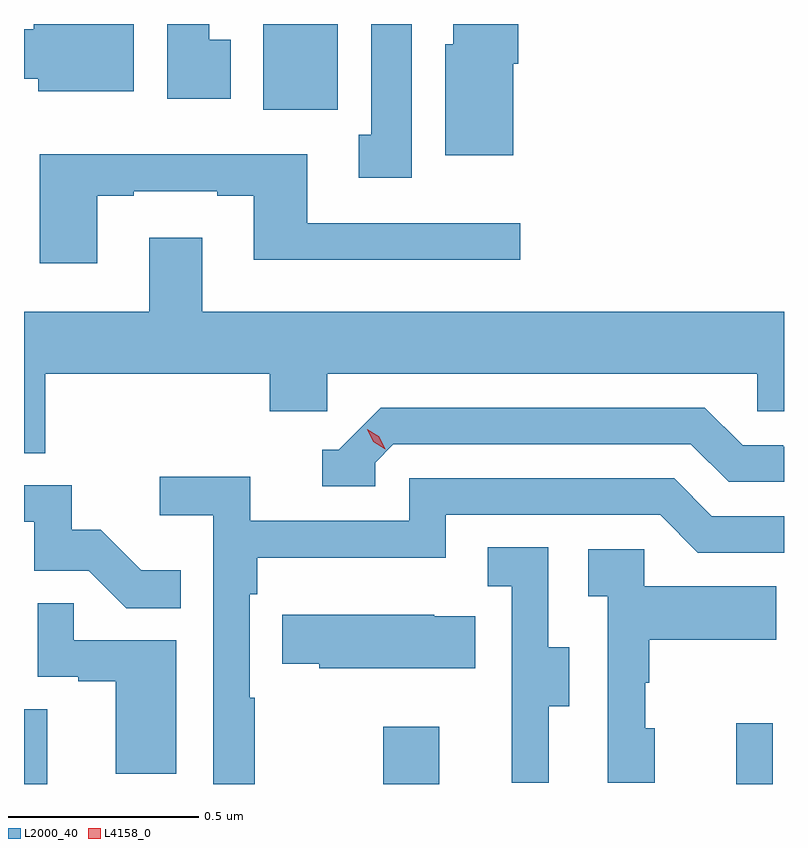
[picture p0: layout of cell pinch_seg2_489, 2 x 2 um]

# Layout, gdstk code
import gdstk
lib = gdstk.Library(unit=1e-6, precision=1e-09)
def R(c, l, rs):  # rectangles x0, y0, x1, y1
    for r in rs: c.add(gdstk.rectangle(r[:2], r[2:], *l))
def P(c, l, *ps):  # polygons
    for p in ps: c.add(gdstk.Polygon(p, *l))
L2000_40 = (2000, 40)
L4158_0 = (4158, 0)

pinch_seg2_489 = lib.new_cell('pinch_seg2_489')
R(pinch_seg2_489, L2000_40, [(936.33,593.277,936.391,593.474), (937.276,593.277,937.423,593.428), (938.204,593.277,938.301,593.437), (936.959,595.052,937.156,595.277)])
P(pinch_seg2_489, L2000_40, [(936.619,595.277),(936.356,595.277),(936.356,595.263),(936.33,595.263),(936.33,595.133),(936.368,595.133),(936.368,595.1),(936.619,595.1)],
  [(937.618,595.172),(937.631,595.172),(937.631,595.277),(937.46,595.277),(937.46,595.224),(937.439,595.224),(937.439,594.932),(937.618,594.932)],
  [(937.351,595.277),(937.244,595.277),(937.244,594.986),(937.211,594.986),(937.211,594.873),(937.351,594.873)],
  [(936.874,595.236),(936.817,595.236),(936.817,595.277),(936.707,595.277),(936.707,595.08),(936.874,595.08)],
  [(936.523,594.825),(936.619,594.825),(936.619,594.837),(936.839,594.837),(936.839,594.825),(936.935,594.825),(936.935,594.656),(937.636,594.656),(937.636,594.753),(937.075,594.753),(937.075,594.934),(936.371,594.934),(936.371,594.648),(936.523,594.648)],
  [(936.386,594.356),(936.977,594.356),(936.977,594.258),(937.128,594.258),(937.128,594.356),(938.259,594.356),(938.259,594.258),(938.33,594.258),(938.33,594.52),(936.799,594.52),(936.799,594.715),(936.659,594.715),(936.659,594.52),(936.33,594.52),(936.33,594.148),(936.386,594.148)],
  [(937.254,594.123),(937.302,594.171),(938.085,594.171),(938.184,594.072),(938.33,594.072),(938.33,594.165),(938.328,594.165),(938.328,594.168),(938.221,594.168),(938.122,594.267),(937.269,594.267),(937.158,594.156),(937.115,594.156),(937.115,594.06),(937.254,594.06)],
  [(936.937,593.504),(936.924,593.504),(936.924,593.777),(936.944,593.777),(936.944,593.873),(937.44,593.873),(937.44,593.985),(938.004,593.985),(938.103,593.886),(938.33,593.886),(938.33,593.982),(938.14,593.982),(938.041,594.081),(937.344,594.081),(937.344,593.97),(936.926,593.97),(936.926,594.086),(936.687,594.086),(936.687,593.984),(936.828,593.984),(936.828,593.277),(936.937,593.277)],
  [(936.743,593.839),(936.639,593.839),(936.532,593.946),(936.456,593.946),(936.456,594.063),(936.33,594.063),(936.33,593.967),(936.357,593.967),(936.357,593.838),(936.501,593.838),(936.599,593.74),(936.743,593.74)],
  [(937.711,593.482),(937.765,593.482),(937.765,593.637),(937.71,593.637),(937.71,593.9),(937.551,593.9),(937.551,593.797),(937.614,593.797),(937.614,593.493),(937.613,593.493),(937.613,593.28),(937.711,593.28)],
  [(937.99,593.424),(937.965,593.424),(937.965,593.543),(937.975,593.543),(937.975,593.657),(938.309,593.657),(938.309,593.797),(937.962,593.797),(937.962,593.895),(937.815,593.895),(937.815,593.771),(937.866,593.771),(937.866,593.28),(937.99,593.28)],
  [(936.73,593.655),(936.461,593.655),(936.461,593.753),(936.366,593.753),(936.366,593.559),(936.473,593.559),(936.473,593.547),(936.572,593.547),(936.572,593.304),(936.73,593.304)],
  [(937.517,593.719),(937.409,593.719),(937.409,593.722),(937.009,593.722),(937.009,593.593),(937.107,593.593),(937.107,593.582),(937.517,593.582)])
P(pinch_seg2_489, L4158_0, [(937.28,594.158),(937.249,594.178),(937.233,594.211),(937.233,594.211),(937.233,594.211),(937.264,594.192),(937.28,594.159),(937.28,594.158)])

lib.write_gds('pinch_seg2_489.gds')
